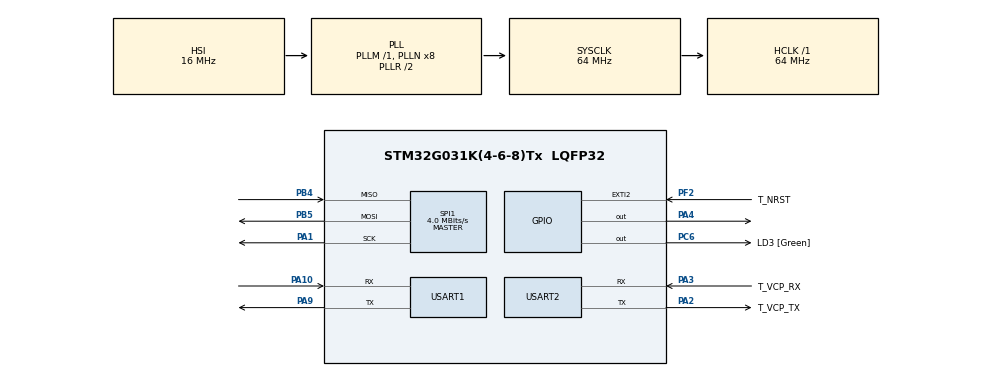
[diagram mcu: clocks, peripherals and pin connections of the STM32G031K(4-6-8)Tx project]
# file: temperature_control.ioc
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FREERTOS.Tasks01=Modbus_task,40,128,Modbus_task_handle,Default,NULL,Dynamic,NULL,NULL;Temperatur_task,8,128,Temperature_task_handle,Default,NULL,Dynamic,NULL,NULL;Control_task,16,64,Regulation_task_handle,Default,NULL,Dynamic,NULL,NULL;UI_Task,8,64,UI_Task_Handle,Default,NULL,Dynamic,NULL,NULL
FREERTOS.configMINIMAL_STACK_SIZE=64
FREERTOS.configTOTAL_HEAP_SIZE=2048
Mcu.Family=STM32G0
Mcu.Name=STM32G031K(4-6-8)Tx
Mcu.Package=LQFP32
NVIC.TIM3_IRQn=true\:3\:0\:false\:false\:true\:false\:false\:true\:true
NVIC.TimeBase=TIM3_IRQn
NVIC.TimeBaseIP=TIM3
NVIC.USART1_IRQn=true\:3\:0\:false\:false\:true\:true\:true\:true\:true
PA1.GPIO_Speed=GPIO_SPEED_FREQ_HIGH
PA1.Mode=Full_Duplex_Master
PA1.PinState=GPIO_PIN_RESET
PA1.Signal=SPI1_SCK
PA10.Mode=Asynchronous
PA10.Signal=USART1_RX
PA13.GPIO_Label=T_JTMS
PA13.Mode=Serial_Wire
PA13.Signal=SYS_SWDIO
PA14-BOOT0.GPIO_Label=T_JTCK
PA14-BOOT0.Mode=Serial_Wire
PA14-BOOT0.Signal=SYS_SWCLK
PA2.GPIO_Label=T_VCP_TX
PA2.GPIO_PuPd=GPIO_PULLUP
PA2.Mode=Asynchronous
PA2.Signal=USART2_TX
PA3.GPIO_Label=T_VCP_RX
PA3.GPIO_PuPd=GPIO_PULLUP
PA3.Mode=Asynchronous
PA3.Signal=USART2_RX
PA4.PinState=GPIO_PIN_SET
PA4.Signal=GPIO_Output
PA9.Mode=Asynchronous
PA9.Signal=USART1_TX
PB4.Mode=Full_Duplex_Master
PB4.Signal=SPI1_MISO
PB5.GPIO_Speed=GPIO_SPEED_FREQ_HIGH
PB5.Mode=Full_Duplex_Master
PB5.Signal=SPI1_MOSI
PC14-OSC32_IN\ (PC14).Mode=LSE-External-Oscillator
PC14-OSC32_IN\ (PC14).Signal=RCC_OSC32_IN
PC15-OSC32_OUT\ (PC15).Mode=LSE-External-Oscillator
PC15-OSC32_OUT\ (PC15).Signal=RCC_OSC32_OUT
PC6.GPIO_Label=LD3 [Green]
PC6.Signal=GPIO_Output
PF2\ -\ NRST.GPIO_Label=T_NRST
PF2\ -\ NRST.Signal=GPXTI2
ProjectManager.HeapSize=0x200
ProjectManager.StackSize=0x400
ProjectManager.TargetToolchain=STM32CubeIDE
RCC.ADCFreq_Value=64000000
RCC.AHBFreq_Value=64000000
RCC.CortexFreq_Value=64000000
RCC.EXTERNAL_CLOCK_VALUE=12288000
RCC.HCLKFreq_Value=64000000
RCC.HSE_VALUE=8000000
RCC.HSI_VALUE=16000000
RCC.SYSCLKFreq_VALUE=64000000
RCC.SYSCLKSource=RCC_SYSCLKSOURCE_PLLCLK
RCC.VCOOutputFreq_Value=128000000
SPI1.BaudRatePrescaler=SPI_BAUDRATEPRESCALER_16
SPI1.CLKPhase=SPI_PHASE_2EDGE
SPI1.CLKPolarity=SPI_POLARITY_LOW
SPI1.CalculateBaudRate=4.0 MBits/s
SPI1.Direction=SPI_DIRECTION_2LINES
SPI1.Mode=SPI_MODE_MASTER
SPI1.VirtualType=VM_MASTER
USART1.MSBFirstParam=ADVFEATURE_MSBFIRST_DISABLE
USART1.VirtualMode-Asynchronous=VM_ASYNC
USART2.VirtualMode-Asynchronous=VM_ASYNC
USART2.WordLength=WORDLENGTH_7B
VP_FREERTOS_VS_CMSIS_V2.Mode=CMSIS_V2
VP_SYS_VS_tim3.Mode=TIM3
board=NUCLEO-G031K8

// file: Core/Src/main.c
/* USER CODE BEGIN Header */
/**
  ******************************************************************************
  * @file           : main.c
  * @brief          : Main program body
  ******************************************************************************
  * @attention
  *
  * Copyright (c) 2025 STMicroelectronics.
  * All rights reserved.
  *
  * This software is licensed under terms that can be found in the LICENSE file
  * in the root directory of this software component.
  * If no LICENSE file comes with this software, it is provided AS-IS.
  *
  ******************************************************************************
  */
/* USER CODE END Header */
#include "main.h"
#include "cmsis_os.h"

/* USER CODE BEGIN Includes */
#include "Modbus.h"
#include <string.h>
/* USER CODE END Includes */

SPI_HandleTypeDef hspi1;

UART_HandleTypeDef huart1;
UART_HandleTypeDef huart2;

/* Definitions for Modbus_task */
osThreadId_t Modbus_taskHandle;
const osThreadAttr_t Modbus_task_attributes = {
  .name = "Modbus_task",
  .priority = (osPriority_t) osPriorityHigh,
  .stack_size = 128 * 4
};
/* Definitions for Temperatur_task */
osThreadId_t Temperatur_taskHandle;
const osThreadAttr_t Temperatur_task_attributes = {
  .name = "Temperatur_task",
  .priority = (osPriority_t) osPriorityLow,
  .stack_size = 128 * 4
};
/* Definitions for Control_task */
osThreadId_t Control_taskHandle;
const osThreadAttr_t Control_task_attributes = {
  .name = "Control_task",
  .priority = (osPriority_t) osPriorityBelowNormal,
  .stack_size = 64 * 4
};
/* Definitions for UI_Task */
osThreadId_t UI_TaskHandle;
const osThreadAttr_t UI_Task_attributes = {
  .name = "UI_Task",
  .priority = (osPriority_t) osPriorityLow,
  .stack_size = 64 * 4
};
/* USER CODE BEGIN PV */
MAX31865_t SENSOR1;

float temp_data = 0;

uint32_t temp_int;
uint16_t temp_data_hi = 0;
uint16_t temp_data_low = 0;

modbusHandler_t ModbusH;
uint16_t ModbusDATA[8];

/* USER CODE END PV */

void SystemClock_Config(void);
static void MX_GPIO_Init(void);
static void MX_USART2_UART_Init(void);
static void MX_SPI1_Init(void);
static void MX_USART1_UART_Init(void);
void Modbus_task_handle(void *argument);
void Temperature_task_handle(void *argument);
void Regulation_task_handle(void *argument);
void UI_Task_Handle(void *argument);

int main(void)
{

  /* MCU Configuration--------------------------------------------------------*/

  /* Reset of all peripherals, Initializes the Flash interface and the Systick. */
  HAL_Init();

  /* Configure the system clock */
  SystemClock_Config();

  /* Initialize all configured peripherals */
  MX_GPIO_Init();
  MX_USART2_UART_Init();
  MX_SPI1_Init();
  MX_USART1_UART_Init();
  /* USER CODE BEGIN 2 */

  //Modbus Slave initialization

  ModbusH.uModbusType = MB_SLAVE;
  ModbusH.port =  &huart1;
  ModbusH.u8id = 1; // For master it must be 0
  ModbusH.u16timeOut = 1000;
  ModbusH.EN_Port = NULL;
  ModbusH.EN_Port = NULL;
  ModbusH.EN_Pin = 0;
  ModbusH.u16regs = ModbusDATA;
  ModbusH.u16regsize= sizeof(ModbusDATA)/sizeof(ModbusDATA[0]);
  ModbusH.xTypeHW = USART_HW;

  //Initialize Modbus library
  ModbusInit(&ModbusH);
  //Start capturing traffic on serial Port
  ModbusStart(&ModbusH);
  /* USER CODE END 2 */

  /* Init scheduler */
  osKernelInitialize();

  /* Create the thread(s) */
  /* creation of Modbus_task */
  Modbus_taskHandle = osThreadNew(Modbus_task_handle, NULL, &Modbus_task_attributes);

  /* creation of Temperatur_task */
  Temperatur_taskHandle = osThreadNew(Temperature_task_handle, NULL, &Temperatur_task_attributes);

  /* creation of Control_task */
  Control_taskHandle = osThreadNew(Regulation_task_handle, NULL, &Control_task_attributes);

  /* creation of UI_Task */
  UI_TaskHandle = osThreadNew(UI_Task_Handle, NULL, &UI_Task_attributes);

  /* Start scheduler */
  osKernelStart();

  /* We should never get here as control is now taken by the scheduler */

  /* Infinite loop */
  while (1)
  {

  }
}

void SystemClock_Config(void)
{
  RCC_OscInitTypeDef RCC_OscInitStruct = {0};
  RCC_ClkInitTypeDef RCC_ClkInitStruct = {0};

  /** Configure the main internal regulator output voltage
  */
  HAL_PWREx_ControlVoltageScaling(PWR_REGULATOR_VOLTAGE_SCALE1);

  /** Initializes the RCC Oscillators according to the specified parameters
  * in the RCC_OscInitTypeDef structure.
  */
  RCC_OscInitStruct.OscillatorType = RCC_OSCILLATORTYPE_HSI;
  RCC_OscInitStruct.HSIState = RCC_HSI_ON;
  RCC_OscInitStruct.HSIDiv = RCC_HSI_DIV1;
  RCC_OscInitStruct.HSICalibrationValue = RCC_HSICALIBRATION_DEFAULT;
  RCC_OscInitStruct.PLL.PLLState = RCC_PLL_ON;
  RCC_OscInitStruct.PLL.PLLSource = RCC_PLLSOURCE_HSI;
  RCC_OscInitStruct.PLL.PLLM = RCC_PLLM_DIV1;
  RCC_OscInitStruct.PLL.PLLN = 8;
  RCC_OscInitStruct.PLL.PLLP = RCC_PLLP_DIV2;
  RCC_OscInitStruct.PLL.PLLQ = RCC_PLLQ_DIV2;
  RCC_OscInitStruct.PLL.PLLR = RCC_PLLR_DIV2;
  if (HAL_RCC_OscConfig(&RCC_OscInitStruct) != HAL_OK)
  {
    Error_Handler();
  }

  /** Initializes the CPU, AHB and APB buses clocks
  */
  RCC_ClkInitStruct.ClockType = RCC_CLOCKTYPE_HCLK|RCC_CLOCKTYPE_SYSCLK
                              |RCC_CLOCKTYPE_PCLK1;
  RCC_ClkInitStruct.SYSCLKSource = RCC_SYSCLKSOURCE_PLLCLK;
  RCC_ClkInitStruct.AHBCLKDivider = RCC_SYSCLK_DIV1;
  RCC_ClkInitStruct.APB1CLKDivider = RCC_HCLK_DIV1;

  if (HAL_RCC_ClockConfig(&RCC_ClkInitStruct, FLASH_LATENCY_2) != HAL_OK)
  {
    Error_Handler();
  }
}

static void MX_SPI1_Init(void)
{

  /* SPI1 parameter configuration*/
  hspi1.Instance = SPI1;
  hspi1.Init.Mode = SPI_MODE_MASTER;
  hspi1.Init.Direction = SPI_DIRECTION_2LINES;
  hspi1.Init.DataSize = SPI_DATASIZE_8BIT;
  hspi1.Init.CLKPolarity = SPI_POLARITY_LOW;
  hspi1.Init.CLKPhase = SPI_PHASE_2EDGE;
  hspi1.Init.NSS = SPI_NSS_SOFT;
  hspi1.Init.BaudRatePrescaler = SPI_BAUDRATEPRESCALER_16;
  hspi1.Init.FirstBit = SPI_FIRSTBIT_MSB;
  hspi1.Init.TIMode = SPI_TIMODE_DISABLE;
  hspi1.Init.CRCCalculation = SPI_CRCCALCULATION_DISABLE;
  hspi1.Init.CRCPolynomial = 7;
  hspi1.Init.CRCLength = SPI_CRC_LENGTH_DATASIZE;
  hspi1.Init.NSSPMode = SPI_NSS_PULSE_DISABLE;
  if (HAL_SPI_Init(&hspi1) != HAL_OK)
  {
    Error_Handler();
  }

}

static void MX_USART1_UART_Init(void)
{

  huart1.Instance = USART1;
  huart1.Init.BaudRate = 115200;
  huart1.Init.WordLength = UART_WORDLENGTH_8B;
  huart1.Init.StopBits = UART_STOPBITS_1;
  huart1.Init.Parity = UART_PARITY_NONE;
  huart1.Init.Mode = UART_MODE_TX_RX;
  huart1.Init.HwFlowCtl = UART_HWCONTROL_NONE;
  huart1.Init.OverSampling = UART_OVERSAMPLING_16;
  huart1.Init.OneBitSampling = UART_ONE_BIT_SAMPLE_DISABLE;
  huart1.Init.ClockPrescaler = UART_PRESCALER_DIV1;
  huart1.AdvancedInit.AdvFeatureInit = UART_ADVFEATURE_NO_INIT;
  if (HAL_UART_Init(&huart1) != HAL_OK)
  {
    Error_Handler();
  }
  if (HAL_UARTEx_SetTxFifoThreshold(&huart1, UART_TXFIFO_THRESHOLD_1_8) != HAL_OK)
  {
    Error_Handler();
  }
  if (HAL_UARTEx_SetRxFifoThreshold(&huart1, UART_RXFIFO_THRESHOLD_1_8) != HAL_OK)
  {
    Error_Handler();
  }
  if (HAL_UARTEx_DisableFifoMode(&huart1) != HAL_OK)
  {
    Error_Handler();
  }

}

static void MX_USART2_UART_Init(void)
{

  huart2.Instance = USART2;
  huart2.Init.BaudRate = 115200;
  huart2.Init.WordLength = UART_WORDLENGTH_7B;
  huart2.Init.StopBits = UART_STOPBITS_1;
  huart2.Init.Parity = UART_PARITY_NONE;
  huart2.Init.Mode = UART_MODE_TX_RX;
  huart2.Init.HwFlowCtl = UART_HWCONTROL_NONE;
  huart2.Init.OverSampling = UART_OVERSAMPLING_16;
  huart2.Init.OneBitSampling = UART_ONE_BIT_SAMPLE_DISABLE;
  huart2.Init.ClockPrescaler = UART_PRESCALER_DIV1;
  huart2.AdvancedInit.AdvFeatureInit = UART_ADVFEATURE_NO_INIT;
  if (HAL_UART_Init(&huart2) != HAL_OK)
  {
    Error_Handler();
  }

}

static void MX_GPIO_Init(void)
{
  GPIO_InitTypeDef GPIO_InitStruct = {0};

  /* GPIO Ports Clock Enable */
  __HAL_RCC_GPIOC_CLK_ENABLE();
  __HAL_RCC_GPIOF_CLK_ENABLE();
  __HAL_RCC_GPIOA_CLK_ENABLE();
  __HAL_RCC_GPIOB_CLK_ENABLE();

  /*Configure GPIO pin Output Level */
  HAL_GPIO_WritePin(GPIOA, GPIO_PIN_4, GPIO_PIN_SET);

  /*Configure GPIO pin Output Level */
  HAL_GPIO_WritePin(LD3_GPIO_Port, LD3_Pin, GPIO_PIN_RESET);

  /*Configure GPIO pin : T_NRST_Pin */
  GPIO_InitStruct.Pin = T_NRST_Pin;
  GPIO_InitStruct.Mode = GPIO_MODE_IT_RISING;
  GPIO_InitStruct.Pull = GPIO_NOPULL;
  HAL_GPIO_Init(T_NRST_GPIO_Port, &GPIO_InitStruct);

  /*Configure GPIO pin : PA4 */
  GPIO_InitStruct.Pin = GPIO_PIN_4;
  GPIO_InitStruct.Mode = GPIO_MODE_OUTPUT_PP;
  GPIO_InitStruct.Pull = GPIO_NOPULL;
  GPIO_InitStruct.Speed = GPIO_SPEED_FREQ_LOW;
  HAL_GPIO_Init(GPIOA, &GPIO_InitStruct);

  /*Configure GPIO pin : LD3_Pin */
  GPIO_InitStruct.Pin = LD3_Pin;
  GPIO_InitStruct.Mode = GPIO_MODE_OUTPUT_PP;
  GPIO_InitStruct.Pull = GPIO_NOPULL;
  GPIO_InitStruct.Speed = GPIO_SPEED_FREQ_LOW;
  HAL_GPIO_Init(LD3_GPIO_Port, &GPIO_InitStruct);

}

void Modbus_task_handle(void *argument)
{
  /* USER CODE BEGIN 5 */
  /* Infinite loop */
  for(;;)
  {

	  //Modbus_recieve_message_handle(&rx_buffer,8);

    osDelay(1);
  }
  osThreadTerminate(NULL);
  /* USER CODE END 5 */
}

void Temperature_task_handle(void *argument)
{
  /* USER CODE BEGIN Temperature_task_handle */
  /* Infinite loop */
  for(;;)
  {
	temp_data = MAX31865_read_temperature(&SENSOR1);
	memcpy(&temp_int, &temp_data, sizeof(temp_data));
	ModbusDATA[0] = temp_int & 0xFFFF;
	ModbusDATA[1]  = (temp_int >> 16) & 0xFFFF;  // High word

    osDelay(1);
  }
  /* USER CODE END Temperature_task_handle */
}

void Regulation_task_handle(void *argument)
{
  for(;;)
  {
    osDelay(1);
  }
}

void UI_Task_Handle(void *argument)
{
  for(;;)
  {
    osDelay(1);
  }
}

void HAL_TIM_PeriodElapsedCallback(TIM_HandleTypeDef *htim)
{
  if (htim->Instance == TIM3) {
    HAL_IncTick();
  }
}

void Error_Handler(void)
{
  __disable_irq();
  while (1)
  {
  }
}
